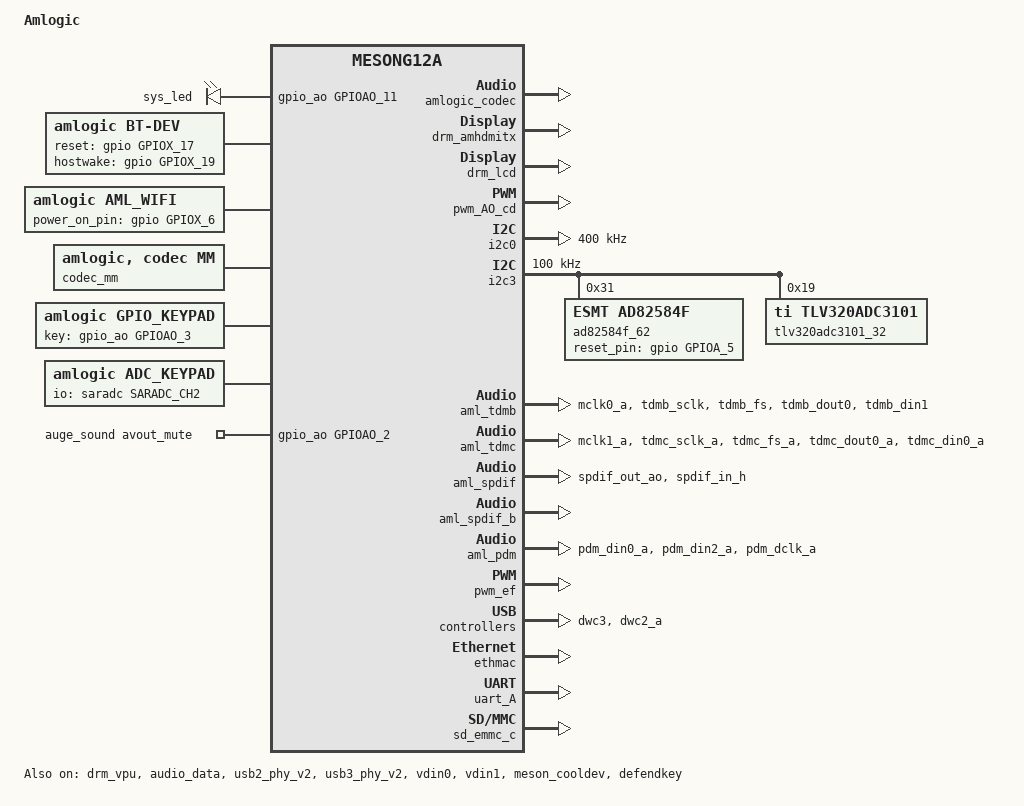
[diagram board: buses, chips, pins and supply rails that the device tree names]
/*
 * arch/arm/boot/dts/amlogic/g12a_s905d2_u200.dts
 *
 * Copyright (C) 2017 Amlogic, Inc. All rights reserved.
 *
 * This program is free software; you can redistribute it and/or modify
 * it under the terms of the GNU General Public License as published by
 * the Free Software Foundation; either version 2 of the License, or
 * (at your option) any later version.
 *
 * This program is distributed in the hope that it will be useful, but WITHOUT
 * ANY WARRANTY; without even the implied warranty of MERCHANTABILITY or
 * FITNESS FOR A PARTICULAR PURPOSE.  See the GNU General Public License for
 * more details.
 *
 */

/dts-v1/;

#include "mesong12a.dtsi"
#include "mesong12a_skt-panel.dtsi"
#include "mesong12a_drm.dtsi"

/ {
	model = "Amlogic";
	compatible = "amlogic, g12a";
	interrupt-parent = <&gic>;
	#address-cells = <1>;
	#size-cells = <1>;

	aliases {
		serial0 = &uart_AO;
		serial1 = &uart_A;
		serial2 = &uart_B;
		serial3 = &uart_C;
		serial4 = &uart_AO_B;
		tsensor0 = &p_tsensor;
		tsensor1 = &d_tsensor;
		i2c0 = &i2c0;
		i2c1 = &i2c1;
		i2c2 = &i2c2;
		i2c3 = &i2c3;
		i2c4 = &i2c_AO;
	};

	memory@00000000 {
		device_type = "memory";
		linux,usable-memory = <0x0 0x80000000>;
	};

	reserved-memory {
		#address-cells = <1>;
		#size-cells = <1>;
		ranges;
		/* global autoconfigured region for contiguous allocations */
		secmon_reserved:linux,secmon {
			compatible = "shared-dma-pool";
			reusable;
			size = <0x400000>;
			alignment = <0x400000>;
			alloc-ranges = <0x05000000 0x400000>;
		};
		secos_reserved:linux,secos {
			status = "disable";
			compatible = "amlogic, aml_secos_memory";
			reg = <0x05300000 0x2000000>;
			no-map;
		};
		logo_reserved:linux,meson-fb {
			compatible = "shared-dma-pool";
			reusable;
			size = <0x800000>;
			alignment = <0x400000>;
			alloc-ranges = <0x7f800000 0x800000>;
		};
		ion_cma_reserved:linux,ion-dev {
			compatible = "shared-dma-pool";
			reusable;
			size = <0x8000000>;
			alignment = <0x400000>;
		};
		//di_reserved:linux,di {
			//compatible = "amlogic, di-mem";
			/* buffer_size = 3621952(yuv422 8bit) */
			/* 4179008(yuv422 10bit full pack mode) */
			/** 10x3621952=34.6M(0x23) support 8bit **/
			/** 10x4736064=45.2M(0x2e) support 12bit **/
			/** 10x4179008=40M(0x28) support 10bit **/
			//size = <0x2800000>;
			//no-map;
		//};
		/*di CMA pool */
		di_cma_reserved:linux,di_cma {
			compatible = "shared-dma-pool";
			reusable;
			/* buffer_size = 3621952(yuv422 8bit)
			 *  | 4736064(yuv422 10bit)
			 *  | 4074560(yuv422 10bit full pack mode)
			 * 10x3621952=34.6M(0x23) support 8bit
			 * 10x4736064=45.2M(0x2e) support 12bit
			 * 10x4074560=40M(0x28) support 10bit
			 */
			size = <0x02800000>;
			alignment = <0x400000>;
		};
		/*  POST PROCESS MANAGER */
		ppmgr_reserved:linux,ppmgr {
			compatible = "shared-dma-pool";
			size = <0x0>;
		};

		codec_mm_cma:linux,codec_mm_cma {
			compatible = "shared-dma-pool";
			reusable;
			/* ion_codec_mm max can alloc size 80M*/
			size = <0x13400000>;
			alignment = <0x400000>;
			linux,contiguous-region;
		};
		/* codec shared reserved */
		codec_mm_reserved:linux,codec_mm_reserved {
			compatible = "amlogic, codec-mm-reserved";
			size = <0x0>;
			alignment = <0x100000>;
			//no-map;
		};
		/*  vdin0 CMA pool */
		vdin0_cma_reserved:linux,vdin0_cma {
			compatible = "shared-dma-pool";
			reusable;
		/* 1920x1080x2x4  =16+4 M */
			size = <0x04000000>;
			alignment = <0x400000>;
		};
		/*  vdin1 CMA pool */
		vdin1_cma_reserved:linux,vdin1_cma {
			compatible = "shared-dma-pool";
			reusable;
			/* 1920x1080x2x4  =16 M */
			size = <0x04000000>;
			alignment = <0x400000>;
		};
	};

	gpioleds {
		compatible = "gpio-leds";
		status = "okay";

		sys_led {
			label="sys_led";
			gpios=<&gpio_ao GPIOAO_11 GPIO_ACTIVE_HIGH>;
			default-state ="on";
		};
	};

	cvbsout {
		compatible = "amlogic, cvbsout-g12a";
		dev_name = "cvbsout";
		status = "okay";
		clocks = <&clkc CLKID_VCLK2_ENCI
			&clkc CLKID_VCLK2_VENCI0
			&clkc CLKID_VCLK2_VENCI1
			&clkc CLKID_DAC_CLK>;
		clock-names = "venci_top_gate",
			"venci_0_gate",
			"venci_1_gate",
			"vdac_clk_gate";
		clk_path = <0>;

		/* performance: reg_address, reg_value */
		/* g12a */
		performance = <0x1bf0  0x9
			0x1b56  0x333
			0x1b12  0x8080
			0x1b05  0xfd
			0x1c59  0xf850
			0xffff  0x0>; /* ending flag */
		performance_sarft = <0x1bf0  0x9
			0x1b56  0x333
			0x1b12  0x0
			0x1b05  0x9
			0x1c59  0xfc48
			0xffff  0x0>; /* ending flag */
		performance_revB_telecom = <0x1bf0  0x9
			0x1b56  0x546
			0x1b12  0x8080
			0x1b05  0x9
			0x1c59  0xf850
			0xffff  0x0>; /* ending flag */
	};

	bt-dev{
		compatible = "amlogic, bt-dev";
		dev_name = "bt-dev";
		status = "okay";
		gpio_reset = <&gpio       GPIOX_17       GPIO_ACTIVE_HIGH>;
		gpio_hostwake = <&gpio       GPIOX_19       GPIO_ACTIVE_HIGH>;
	};

	wifi{
		compatible = "amlogic, aml_wifi";
		dev_name = "aml_wifi";
		status = "okay";
		interrupt_pin = <&gpio       GPIOX_7       GPIO_ACTIVE_HIGH>;
		irq_trigger_type = "GPIO_IRQ_LOW";
		power_on_pin = <&gpio       GPIOX_6       GPIO_ACTIVE_HIGH>;
		dhd_static_buf;	//if use bcm wifi, config dhd_static_buf
		pinctrl-names = "default";
		pinctrl-0 = <&pwm_e_pins>;
		pwm_config = <&wifi_pwm_conf>;
	};

	wifi_pwm_conf:wifi_pwm_conf{
		pwm_channel1_conf {
			pwms = <&pwm_ef MESON_PWM_0 30541 0>;
			duty-cycle = <15270>;
			times = <10>;
		};
		pwm_channel2_conf {
			pwms = <&pwm_ef MESON_PWM_2 30500 0>;
			duty-cycle = <15250>;
			times = <12>;
		};
	};

	codec_mm {
		compatible = "amlogic, codec, mm";
		memory-region = <&codec_mm_cma &codec_mm_reserved>;
		dev_name = "codec_mm";
		status = "okay";
	};

	ppmgr {
		compatible = "amlogic, ppmgr";
		memory-region = <&ppmgr_reserved>;
		dev_name = "ppmgr";
		status = "okay";
	};

	deinterlace {
		compatible = "amlogic, deinterlace";
		status = "okay";
		/* 0:use reserved; 1:use cma; 2:use cma as reserved */
		flag_cma = <1>;
		//memory-region = <&di_reserved>;
		memory-region = <&di_cma_reserved>;
		interrupts = <0 46 1
				0 40 1>;
		interrupt-names = "pre_irq", "post_irq";
		clocks = <&clkc CLKID_VPU_CLKB_TMP_COMP>,
			<&clkc CLKID_VPU_CLKB_COMP>;
		clock-names = "vpu_clkb_tmp_composite",
			"vpu_clkb_composite";
		clock-range = <334 667>;
		/* buffer-size = <3621952>;(yuv422 8bit) */
		buffer-size = <4074560>;/*yuv422 fullpack*/
		/* reserve-iomap = "true"; */
		/* if enable nr10bit, set nr10bit-support to 1 */
		post-wr-support = <1>;
		nr10bit-support = <1>;
		nrds-enable = <1>;
		pps-enable = <1>;
	};
	ionvideo {
		compatible = "amlogic, ionvideo";
		dev_name = "ionvideo";
		status = "okay";
	};

	gpio_keypad{
		compatible = "amlogic, gpio_keypad";
		status = "okay";
		scan_period = <20>;
		key_num = <1>;
		key_name = "power";
		key_code = <116>;
		key-gpios = <&gpio_ao  GPIOAO_3  GPIO_ACTIVE_HIGH>;
		detect_mode = <0>;/*0:polling mode, 1:irq mode*/
	};

	adc_keypad {
		compatible = "amlogic, adc_keypad";
		status = "okay";
		key_name = "vol-", "vol+", "enter";
		key_num = <3>;
		io-channels = <&saradc SARADC_CH2>;
		io-channel-names = "key-chan-2";
		key_chan = <SARADC_CH2 SARADC_CH2 SARADC_CH2>;
		key_code = <114 115 28>;
		key_val = <143 266 389>; //val=voltage/1800mV*1023
		key_tolerance = <40 40 40>;
	};

	partitions: partitions{
		parts = <14>;
		part-0 = <&logo>;
		part-1 = <&recovery>;
		part-2 = <&misc>;
		part-3 = <&dto>;
		part-4 = <&cri_data>;
		part-5 = <&param>;
		part-6 = <&boot>;
		part-7 = <&rsv>;
		part-8 = <&tee>;
		part-9 = <&vendor>;
		part-10 = <&odm>;
		part-11 = <&system>;
		part-12 = <&cache>;
		part-13 = <&data>;

		logo:logo{
			pname = "logo";
			size = <0x0 0x800000>;
			mask = <1>;
		};
		recovery:recovery{
			pname = "recovery";
			size = <0x0 0x1800000>;
			mask = <1>;
		};
		misc:misc{
			pname = "misc";
			size = <0x0 0x800000>;
			mask = <1>;
		};
		dto:dto{
			pname = "dto";
			size = <0x0 0x800000>;
			mask = <1>;
		};
		cri_data:cri_data{
			pname = "cri_data";
			size = <0x0 0x800000>;
			mask = <2>;
		};
		rsv:rsv{
			pname = "rsv";
			size = <0x0 0x1000000>;
			mask = <1>;
		};
		param:param{
			pname = "param";
			size = <0x0 0x1000000>;
			mask = <2>;
		};
		boot:boot{
			pname = "boot";
			size = <0x0 0x1000000>;
			mask = <1>;
		};
		tee:tee{
			pname = "tee";
			size = <0x0 0x2000000>;
			mask = <1>;
		};
		vendor:vendor{
			pname = "vendor";
			size = <0x0 0x10000000>;
			mask = <1>;
		};
		odm:odm{
			pname = "odm";
			size = <0x0 0x10000000>;
			mask = <1>;
		};
		system:system{
			pname = "system";
			size = <0x0 0x80000000>;
			mask = <1>;
		};
		cache:cache{
			pname = "cache";
			size = <0x0 0x46000000>;
			mask = <2>;
		};
		data:data{
			pname = "data";
			size = <0xffffffff 0xffffffff>;
			mask = <4>;
		};
	};
	unifykey{
		compatible = "amlogic, unifykey";
		status = "ok";
		unifykey-num = <15>;
		unifykey-index-0 = <&keysn_0>;
		unifykey-index-1 = <&keysn_1>;
		unifykey-index-2 = <&keysn_2>;
		unifykey-index-3 = <&keysn_3>;
		unifykey-index-4 = <&keysn_4>;
		unifykey-index-5 = <&keysn_5>;
		unifykey-index-6 = <&keysn_6>;
		unifykey-index-7 = <&keysn_7>;
		unifykey-index-8 = <&keysn_8>;
		unifykey-index-9 = <&keysn_9>;
		unifykey-index-10= <&keysn_10>;
		unifykey-index-11= <&keysn_11>;
		unifykey-index-12= <&keysn_12>;
		unifykey-index-13= <&keysn_13>;
		unifykey-index-14= <&keysn_14>;

		keysn_0: key_0{
			key-name = "usid";
			key-device = "normal";
			key-permit = "read","write","del";
		};
		keysn_1:key_1{
			key-name = "mac";
			key-device = "normal";
			key-permit = "read","write","del";
		};
		keysn_2:key_2{
			key-name = "hdcp";
			key-device = "secure";
			key-type = "sha1";
			key-permit = "read","write","del";
		};
		keysn_3:key_3{
			key-name = "secure_boot_set";
			key-device = "efuse";
			key-permit = "write";
		};
		keysn_4:key_4{
			key-name = "mac_bt";
			key-device = "normal";
			key-permit = "read","write","del";
			key-type  = "mac";
		};
		keysn_5:key_5{
			key-name = "mac_wifi";
			key-device = "normal";
			key-permit = "read","write","del";
			key-type = "mac";
		};
		keysn_6:key_6{
			key-name = "hdcp2_tx";
			key-device = "normal";
			key-permit = "read","write","del";
		};
		keysn_7:key_7{
			key-name = "hdcp2_rx";
			key-device = "normal";
			key-permit = "read","write","del";
		};
		keysn_8:key_8{
			key-name = "widevinekeybox";
			key-device = "secure";
			key-permit = "read","write","del";
		};
		keysn_9:key_9{
			key-name = "deviceid";
			key-device = "normal";
			key-permit = "read","write","del";
		};
		keysn_10:key_10{
			key-name = "hdcp22_fw_private";
			key-device = "secure";
			key-permit = "read","write","del";
		};
		keysn_11:key_11{
			key-name = "PlayReadykeybox25";
			key-device = "secure";
			key-permit = "read","write","del";
		};
		keysn_12:key_12{
			key-name = "prpubkeybox";// PlayReady
			key-device = "secure";
			key-permit = "read","write","del";
		};
		keysn_13:key_13{
			key-name = "prprivkeybox";// PlayReady
			key-device = "secure";
			key-permit = "read","write","del";
		};
		keysn_14:key_14{
			key-name = "netflix_mgkid";
			key-device = "secure";
			key-permit = "read","write","del";
		};
	};//End unifykey

	efusekey:efusekey{
		keynum = <4>;
		key0 = <&key_0>;
		key1 = <&key_1>;
		key2 = <&key_2>;
		key3 = <&key_3>;
		key_0:key_0{
			keyname = "mac";
			offset = <0>;
			size = <6>;
		};
		key_1:key_1{
			keyname = "mac_bt";
			offset = <6>;
			size = <6>;
		};
		key_2:key_2{
			keyname = "mac_wifi";
			offset = <12>;
			size = <6>;
		};
		key_3:key_3{
			keyname = "usid";
			offset = <18>;
			size = <16>;
		};
	};//End efusekey

	amlvecm {
		compatible = "amlogic, vecm";
		dev_name = "aml_vecm";
		status = "okay";
		gamma_en = <0>;/*1:enabel ;0:disable*/
		wb_en = <0>;/*1:enabel ;0:disable*/
		cm_en = <0>;/*1:enabel ;0:disable*/
		/*0: 709/601  1: bt2020*/
		tx_op_color_primary = <0>;
	};

	amdolby_vision {
		compatible = "amlogic, dolby_vision_g12a";
		dev_name = "aml_amdolby_vision_driver";
		status = "okay";
		tv_mode = <0>;/*1:enabel ;0:disable*/
	};

	/* Audio Related start */
	pdm_codec:dummy{
		#sound-dai-cells = <0>;
		compatible = "amlogic, pdm_dummy_codec";
		status = "okay";
	};
	dummy_codec:dummy{
		#sound-dai-cells = <0>;
		compatible = "amlogic, aml_dummy_codec";
		status = "okay";
	};
	amlogic_codec:t9015{
		#sound-dai-cells = <0>;
		compatible = "amlogic, aml_codec_T9015";
		reg = <0xFF632000 0x2000>;
		is_auge_used = <1>; /* meson or auge chipset used */
		tdmout_index = <1>;
		status = "okay";
	};
	audio_effect:eqdrc{
		/*eq_enable = <1>;*/
		/*drc_enable = <1>;*/
		/*
		 * 0:tdmout_a
		 * 1:tdmout_b
		 * 2:tdmout_c
		 * 3:spdifout
		 * 4:spdifout_b
		 */
		eqdrc_module = <1>;
		/* max 0xf, each bit for one lane, usually one lane */
		lane_mask = <0x1>;
		/* max 0xff, each bit for one channel */
		channel_mask = <0x3>;
	};
	auge_sound {
		compatible = "amlogic, g12a-sound-card";
		aml-audio-card,name = "AML-AUGESOUND";

		aml-audio-card,loopback = <&aml_loopback>;
		aml-audio-card,aux-devs = <&amlogic_codec>;
		/*avout mute gpio*/
		avout_mute-gpios = <&gpio_ao GPIOAO_2 GPIO_ACTIVE_HIGH>;
		/*for audio effect ,eqdrc */
		aml-audio-card,effect = <&audio_effect>;

		aml-audio-card,dai-link@0 {
			format = "dsp_a";
			mclk-fs = <512>;
			//continuous-clock;
			//bitclock-inversion;
			//frame-inversion;
			//bitclock-master = <&tdmacodec>;
			//frame-master = <&tdmacodec>;
			/* suffix-name, sync with android audio hal
			 * what's the dai link used for
			 */
			suffix-name = "alsaPORT-pcm";
			tdmacpu: cpu {
				sound-dai = <&aml_tdma>;
				dai-tdm-slot-tx-mask =
							<1 1 1 1 1 1 1 1>;
				dai-tdm-slot-rx-mask =
							<1 1 1 1 1 1 1 1>;
				dai-tdm-slot-num = <8>;
				dai-tdm-slot-width = <32>;
				system-clock-frequency = <24576000>;
			};
			tdmacodec: codec {
				sound-dai = <&dummy_codec &dummy_codec>;
			};
		};

		aml-audio-card,dai-link@1 {
			format = "i2s";// "dsp_a";
			mclk-fs = <256>;
			//continuous-clock;
			//bitclock-inversion;
			//frame-inversion;
			bitclock-master = <&aml_tdmb>;
			frame-master = <&aml_tdmb>;
			//bitclock-master = <&tdmbcodec>;
			//frame-master = <&tdmbcodec>;
			/* suffix-name, sync with android audio hal
			 * what's the dai link used for
			 */
			suffix-name = "alsaPORT-i2s";
			cpu {
				sound-dai = <&aml_tdmb>;
				dai-tdm-slot-tx-mask = <1 1>;
				dai-tdm-slot-rx-mask = <1 1>;
				dai-tdm-slot-num = <2>;
				/*
				 * dai-tdm-slot-tx-mask =
				 *	<1 1 1 1 1 1 1 1>;
				 * dai-tdm-slot-rx-mask =
				 *	<1 1 1 1 1 1 1 1>;
				 * dai-tdm-slot-num = <8>;
				 */
				dai-tdm-slot-width = <32>;
				system-clock-frequency = <12288000>;
			};
			tdmbcodec: codec {
				sound-dai = <&dummy_codec &dummy_codec
				&amlogic_codec &ad82584f_62>;
			};
		};

		aml-audio-card,dai-link@2 {
			format = "i2s";
			mclk-fs = <256>;
			//continuous-clock;
			//bitclock-inversion;
			//frame-inversion;
			bitclock-master = <&aml_tdmc>;
			frame-master = <&aml_tdmc>;
			/* suffix-name, sync with android audio hal
			 * what's the dai link used for
			 */
			//suffix-name = "alsaPORT-tdm";
			cpu {
				sound-dai = <&aml_tdmc>;
				dai-tdm-slot-tx-mask = <1 1>;
				dai-tdm-slot-rx-mask = <1 1>;
				dai-tdm-slot-num = <2>;
				dai-tdm-slot-width = <32>;
				system-clock-frequency = <12288000>;
			};
			codec {
				sound-dai = <&tlv320adc3101_32 &dummy_codec>;
			};
		};

		aml-audio-card,dai-link@3 {
			mclk-fs = <64>;
			/* suffix-name, sync with android audio hal
			 * what's the dai link used for
			 */
			suffix-name = "alsaPORT-pdm";
			cpu {
				sound-dai = <&aml_pdm>;
			};
			codec {
				sound-dai = <&pdm_codec>;
			};
		};

		aml-audio-card,dai-link@4 {
			mclk-fs = <128>;
			/* suffix-name, sync with android audio hal
			 * what's the dai link used for
			 */
			suffix-name = "alsaPORT-spdif";
			cpu {
				sound-dai = <&aml_spdif>;
				system-clock-frequency = <6144000>;
			};
			codec {
				sound-dai = <&dummy_codec>;
			};
		};
		/* spdif_b to hdmi, only playback */
		aml-audio-card,dai-link@5 {
			mclk-fs = <128>;
			continuous-clock;
			/* suffix-name, sync with android audio hal
			 * what's the dai link used for
			 */
			suffix-name = "alsaPORT-spdifb2hdmi";
			cpu {
				sound-dai = <&aml_spdif_b>;
				system-clock-frequency = <6144000>;
			};
			codec {
				sound-dai = <&dummy_codec>;
			};
		};
	};
	audiolocker: locker {
		compatible = "amlogic, audiolocker";
		clocks = <&clkaudio CLKID_AUDIO_LOCKER_OUT
				&clkaudio CLKID_AUDIO_LOCKER_IN
				&clkaudio CLKID_AUDIO_MCLK_D
				&clkaudio CLKID_AUDIO_MCLK_E
				&clkc CLKID_MPLL1
				&clkc CLKID_MPLL2>;
		clock-names = "lock_out", "lock_in", "out_src",
					"in_src", "out_calc", "in_ref";
		interrupts = <GIC_SPI 1 IRQ_TYPE_EDGE_RISING>;
		interrupt-names = "irq";
		frequency = <49000000>; /* pll */
		dividor = <49>; /* locker's parent */
		status = "okay";
	};
	/* Audio Related end */

	/*DCDC for MP8756GD*/
	cpu_opp_table0: cpu_opp_table0 {
		compatible = "operating-points-v2";
		opp-shared;

		opp00 {
			opp-hz = /bits/ 64 <100000000>;
			opp-microvolt = <731000>;
		};
		opp01 {
			opp-hz = /bits/ 64 <250000000>;
			opp-microvolt = <731000>;
		};
		opp02 {
			opp-hz = /bits/ 64 <500000000>;
			opp-microvolt = <731000>;
		};
		opp03 {
			opp-hz = /bits/ 64 <667000000>;
			opp-microvolt = <731000>;
		};
		opp04 {
			opp-hz = /bits/ 64 <1000000000>;
			opp-microvolt = <731000>;
		};
		opp05 {
			opp-hz = /bits/ 64 <1200000000>;
			opp-microvolt = <731000>;
		};
		opp06 {
			opp-hz = /bits/ 64 <1398000000>;
			opp-microvolt = <761000>;
		};
		opp07 {
			opp-hz = /bits/ 64 <1512000000>;
			opp-microvolt = <791000>;
		};
		opp08 {
			opp-hz = /bits/ 64 <1608000000>;
			opp-microvolt = <831000>;
		};
		opp09 {
			opp-hz = /bits/ 64 <1704000000>;
			opp-microvolt = <861000>;
		};
		opp10 {
			opp-hz = /bits/ 64 <1800000000>;
			opp-microvolt = <981000>;
		};
	};

	cpufreq-meson {
		compatible = "amlogic, cpufreq-meson";
		pinctrl-names = "default";
		pinctrl-0 = <&pwm_ao_d_pins3>;
		status = "okay";
	};

}; /* end of / */

&meson_fb {
	status = "disable";
	display_size_default = <1920 1080 1920 2160 32>;
	mem_size = <0x00800000 0x1980000 0x100000 0x100000 0x800000>;
	logo_addr = "0x7f800000";
	mem_alloc = <1>;
	pxp_mode = <0>; /** 0:normal mode 1:pxp mode */
};

&drm_vpu {
	status = "okay";
	logo_addr = "0x7f800000";
};

&drm_amhdmitx {
	status = "okay";
	hdcp = "disabled";
};

&drm_lcd {
	status = "okay";
};

&pwm_AO_cd {
		status = "okay";
};

&i2c0 {
	status = "okay";
	pinctrl-names="default";
	pinctrl-0=<&i2c0_master_pins2>;
	clock-frequency = <400000>;

	gt9xx@5d {
		compatible = "goodix,gt9xx";
		status = "disabled";
		reg = <0x5d>;
		reset-gpio = <&gpio GPIOZ_9 0x00>;
		irq-gpio = <&gpio GPIOZ_3 0x00>;
	};

	ftxx@38 {
		compatible = "focaltech,fts";
		status = "disabled";
		reg = <0x38>;
		reset-gpio = <&gpio GPIOZ_9 0x00>;
		irq-gpio = <&gpio GPIOZ_3 0x00>;
		x_max = <600>;
		y_max = <1024>;
		max-touch-number = <10>;
	};
};

&i2c3 {
	status = "okay";
	pinctrl-names="default";
	pinctrl-0=<&i2c3_master_pins2>;
	clock-frequency = <100000>; /* default 100k */

	/* for ref board */
	ad82584f_62: ad82584f_62@62 {
		compatible = "ESMT, ad82584f";
		#sound-dai-cells = <0>;
		reg = <0x31>;
		status = "okay";
		reset_pin = <&gpio GPIOA_5 0>;
	};

	tlv320adc3101_32: tlv320adc3101_32@32 {
		compatible = "ti,tlv320adc3101";
		#sound-dai-cells = <0>;
		reg = <0x19>;
		differential_pair = <1>;
		status = "okay";
	};

	tas5707_36: tas5707_36@36 {
		compatible = "ti,tas5707";
		#sound-dai-cells = <0>;
		reg = <0x1b>;
		status = "disabled";
		reset_pin = <&gpio GPIOA_5 0>;
	};

	bl_extern_i2c {
		compatible = "bl_extern, i2c";
		dev_name = "lp8556";
		reg = <0x2c>;
		status = "disabled";
	};
};

&audiobus {
	aml_tdma: tdma {
		compatible = "amlogic, g12a-snd-tdma";
		#sound-dai-cells = <0>;
		dai-tdm-lane-slot-mask-in = <0 1>;
		dai-tdm-oe-lane-slot-mask-out = <1 0>;
		dai-tdm-clk-sel = <0>;
		clocks = <&clkaudio CLKID_AUDIO_MCLK_A
				&clkc CLKID_MPLL0>;
		clock-names = "mclk", "clk_srcpll";
		pinctrl-names = "tdm_pins";
		pinctrl-0 = <&tdmout_a &tdmin_a>;
	};

	aml_tdmb: tdmb {
		compatible = "amlogic, g12a-snd-tdmb";
		#sound-dai-cells = <0>;
		dai-tdm-lane-slot-mask-in = <0 1 0 0>;
		dai-tdm-lane-slot-mask-out = <1 0 0 0>;
		dai-tdm-clk-sel = <1>;
		clocks = <&clkaudio CLKID_AUDIO_MCLK_B
				&clkc CLKID_MPLL1
				&clkc CLKID_MPLL0>;
		clock-names = "mclk", "clk_srcpll", "samesource_sysclk";
		pinctrl-names = "tdm_pins";
		pinctrl-0 = <&tdmb_mclk &tdmout_b &tdmin_b>;
		/*
		 * 0: tdmout_a;
		 * 1: tdmout_b;
		 * 2: tdmout_c;
		 * 3: spdifout;
		 * 4: spdifout_b;
		 */
		samesource_sel = <3>;
	};

	aml_tdmc: tdmc {
		compatible = "amlogic, g12a-snd-tdmc";
		#sound-dai-cells = <0>;
		dai-tdm-lane-slot-mask-in = <1 0 0 0>;
		#dai-tdm-lane-slot-mask-out = <1 0 1 1>;
		#dai-tdm-lane-oe-slot-mask-in = <0 0 0 0>;
		#dai-tdm-lane-oe-slot-mask-out = <1 0 0 0>;
		dai-tdm-clk-sel = <2>;
		clocks = <&clkaudio CLKID_AUDIO_MCLK_C
				&clkc CLKID_MPLL2>;
		clock-names = "mclk", "clk_srcpll";
		pinctrl-names = "tdm_pins";
		pinctrl-0 = <&tdmc_mclk &tdmout_c &tdmin_c>;
	};


	aml_spdif: spdif {
		compatible = "amlogic, g12a-snd-spdif-a";
		#sound-dai-cells = <0>;
		clocks = <&clkc CLKID_MPLL0
				&clkc CLKID_FCLK_DIV4
				&clkaudio CLKID_AUDIO_SPDIFIN
				&clkaudio CLKID_AUDIO_SPDIFOUT
				&clkaudio CLKID_AUDIO_SPDIFIN_CTRL
				&clkaudio CLKID_AUDIO_SPDIFOUT_CTRL>;
		clock-names = "sysclk", "fixed_clk", "gate_spdifin",
				"gate_spdifout", "clk_spdifin", "clk_spdifout";
		interrupts =
				<GIC_SPI 151 IRQ_TYPE_EDGE_RISING>;

		interrupt-names = "irq_spdifin";
		pinctrl-names = "spdif_pins";
		pinctrl-0 = <&spdifout &spdifin>;
		status = "okay";
	};
	aml_spdif_b: spdif_b {
		compatible = "amlogic, g12a-snd-spdif-b";
		#sound-dai-cells = <0>;
		clocks = <&clkc CLKID_MPLL0 /*CLKID_HIFI_PLL*/
				&clkaudio CLKID_AUDIO_SPDIFOUTB
				&clkaudio CLKID_AUDIO_SPDIFOUTB_CTRL>;
		clock-names = "sysclk",
				"gate_spdifout", "clk_spdifout";
		status = "okay";
	};
	aml_pdm: pdm {
		compatible = "amlogic, g12a-snd-pdm";
		#sound-dai-cells = <0>;
		clocks = <&clkaudio CLKID_AUDIO_PDM
			&clkc CLKID_FCLK_DIV3
			&clkc CLKID_MPLL3
			&clkaudio CLKID_AUDIO_PDMIN0
			&clkaudio CLKID_AUDIO_PDMIN1>;
		clock-names = "gate",
			"sysclk_srcpll",
			"dclk_srcpll",
			"pdm_dclk",
			"pdm_sysclk";
		pinctrl-names = "pdm_pins";
		pinctrl-0 = <&pdmin>;
		filter_mode = <1>; /* mode 0~4, defalut:1 */
		status = "okay";
	};
	aml_loopback: loopback {
		compatible = "amlogic, snd-loopback";
		/*
		 * 0: out rate = in data rate;
		 * 1: out rate = loopback data rate;
		 */
		lb_mode = <0>;

		/* datain src
		 * 0: tdmin_a;
		 * 1: tdmin_b;
		 * 2: tdmin_c;
		 * 3: spdifin;
		 * 4: pdmin;
		 */
		datain_src = <4>;
		datain_chnum = <8>;
		datain_chmask = <0x3f>;

		/* tdmin_lb src
		 * 0: tdmoutA
		 * 1: tdmoutB
		 * 2: tdmoutC
		 * 3: PAD_tdminA
		 * 4: PAD_tdminB
		 * 5: PAD_tdminC
		 */
		datalb_src = <2>;
		datalb_chnum = <8>;
		datalb_chmask = <0x3>;

		status = "okay";
	};

	audioresample: resample {
		compatible = "amlogic, g12a-resample";
		clocks = <&clkc CLKID_MPLL3
				&clkaudio CLKID_AUDIO_MCLK_F
				&clkaudio CLKID_AUDIO_RESAMPLE_CTRL>;
		clock-names = "resample_pll", "resample_src", "resample_clk";
		/*same with toddr_src
		 *	TDMIN_A, 0
		 *	TDMIN_B, 1
		 *	TDMIN_C, 2
		 *	SPDIFIN, 3
		 *	PDMIN,  4
		 *	NONE,
		 *	TDMIN_LB, 6
		 *	LOOPBACK, 7
		 */
		resample_module = <4>;
		status = "okay";
	};
	aml_pwrdet: pwrdet {
		compatible = "amlogic, g12a-power-detect";

		interrupts = <GIC_SPI 155 IRQ_TYPE_EDGE_RISING>;
		interrupt-names = "pwrdet_irq";

		/* pwrdet source sel
		 * 7: loopback;
		 * 6: tdmin_lb;
		 * 5: reserved;
		 * 4: pdmin;
		 * 3: spdifin;
		 * 2: tdmin_c;
		 * 1: tdmin_b;
		 * 0: tdmin_a;
		 */
		pwrdet_src = <4>;

		hi_th = <0x70000>;
		lo_th = <0x16000>;

		status = "okay";
	};
}; /* end of audiobus */

&pinctrl_periphs {
	tdmout_a: tdmout_a {
		mux { /* GPIOX_11, GPIOX_10, GPIOX_9 */
			groups = "tdma_sclk",
				"tdma_fs",
				"tdma_dout0";
			function = "tdma_out";
		};
	};

	tdmin_a: tdmin_a {
		mux { /* GPIOX_8 */
			groups = "tdma_din1";
			function = "tdma_in";
		};
	};

	tdmb_mclk: tdmb_mclk {
		mux {
			groups = "mclk0_a";
			function = "mclk0";
			drive-strength = <2>;
		};
	};
	tdmout_b: tdmout_b {
		mux { /* GPIOA_1, GPIOA_2, GPIOA_3 */
			groups = "tdmb_sclk",
				"tdmb_fs",
				"tdmb_dout0";
			function = "tdmb_out";
			drive-strength = <2>;
		};
	};

	tdmin_b:tdmin_b {
		mux { /* GPIOA_4 */
			groups = "tdmb_din1"
				/*,"tdmb_slv_sclk", "tdmb_slv_fs"*/;
			function = "tdmb_in";
			drive-strength = <2>;
		};
	};

	tdmc_mclk: tdmc_mclk {
		mux { /* GPIOA_11 */
			groups = "mclk1_a";
			function = "mclk1";
		};
	};

	tdmout_c:tdmout_c {
		mux { /* GPIOA_12, GPIOA_13, GPIOA_8, GPIOA_7*/
			groups = "tdmc_sclk_a",
				"tdmc_fs_a",
				"tdmc_dout0_a"
				/*,	"tdmc_dout2",
				 * "tdmc_dout3"
				 */;
			function = "tdmc_out";
		};
	};

	tdmin_c:tdmin_c {
		mux { /* GPIOA_10 */
			groups = "tdmc_din0_a";
			function = "tdmc_in";
		};
	};

	spdifin: spdifin {
		mux {/* GPIOH_5 */
			groups = "spdif_in_h";
			function = "spdif_in";
		};
	};

	/* GPIOH_4 */
	/*
	 * spdifout: spdifout {
	 *	mux {
	 *		groups = "spdif_out_h";
	 *		function = "spdif_out";
	 *	};
	 *};
	 */

	pdmin: pdmin {
		mux { /* gpioa_5, gpioa_6, gpioa_7, gpioa_8, gpioa_9*/
			groups = "pdm_din0_a",
			/*"pdm_din1_a",*/
			"pdm_din2_a",
			/*"pdm_din3_a",*/
			"pdm_dclk_a";
			function = "pdm";
		};
	};

	bl_pwm_off_pins:bl_pwm_off_pin {
		mux {
			pins = "GPIOH_5";
			function = "gpio_periphs";
			output-high;
		};
	};


}; /* end of pinctrl_periphs */
&pinctrl_aobus {
	spdifout: spdifout {
		mux { /* gpiao_10 */
			groups = "spdif_out_ao";
			function = "spdif_out_ao";
		};
	};
};  /* end of pinctrl_aobus */

&audio_data {
	status = "okay";
};

/* Audio Related End */

&pwm_ef {
	status = "okay";
};

&dwc3 {
	status = "okay";
};

&usb2_phy_v2 {
	status = "okay";
	portnum = <2>;
};

&usb3_phy_v2 {
	status = "okay";
	portnum = <1>;
	otg = <1>;
	gpio-vbus-power = "GPIOH_6";
	gpios = <&gpio GPIOH_6 GPIO_ACTIVE_HIGH>;
};

&dwc2_a {
	status = "okay";
	/** 0: normal, 1: otg+dwc3 host only, 2: otg+dwc3 device only*/
	controller-type = <3>;
};
&ethmac {
	status = "okay";
	pinctrl-names = "internal_eth_pins";
	pinctrl-0 = <&internal_eth_pins>;
	mc_val = <0x4be04>;

	internal_phy=<1>;
};

&uart_A {
	status = "okay";
};

/*if you want to use vdin just modify status to "ok"*/
&vdin0 {
	memory-region = <&vdin0_cma_reserved>;
	status = "okay";
	/*vdin write mem color depth support:
	 *bit0:support 8bit
	 *bit1:support 9bit
	 *bit2:support 10bit
	 *bit3:support 12bit
	 *bit4:support yuv422 10bit full pack mode (from txl new add)
	 */
	tv_bit_mode = <0x15>;
};
&vdin1 {
	memory-region = <&vdin1_cma_reserved>;
	status = "okay";
	/*vdin write mem color depth support:
	 *bit0:support 8bit
	 *bit1:support 9bit
	 *bit2:support 10bit
	 *bit3:support 12bit
	 */
	tv_bit_mode = <1>;
};


&sd_emmc_c {
	status = "okay";
	emmc {
		caps = "MMC_CAP_8_BIT_DATA",
			 "MMC_CAP_MMC_HIGHSPEED",
			 "MMC_CAP_SD_HIGHSPEED",
			 "MMC_CAP_NONREMOVABLE",
			/* "MMC_CAP_1_8V_DDR", */
			 "MMC_CAP_HW_RESET",
			 "MMC_CAP_ERASE",
			 "MMC_CAP_CMD23";
		caps2 = "MMC_CAP2_HS200";
		/* "MMC_CAP2_HS400";*/
		f_min = <400000>;
		f_max = <200000000>;
	};
};

&sd_emmc_b1 {
	status = "disabled";
	sd {
		caps = "MMC_CAP_4_BIT_DATA",
			 "MMC_CAP_MMC_HIGHSPEED",
			 "MMC_CAP_SD_HIGHSPEED";
		f_min = <400000>;
		f_max = <50000000>;
	};
};

&sd_emmc_b2 {
	status = "disabled";
	sd {
		caps = "MMC_CAP_4_BIT_DATA",
			 "MMC_CAP_MMC_HIGHSPEED",
			 "MMC_CAP_SD_HIGHSPEED";

		f_min = <400000>;
		f_max = <50000000>;
	};

	sdio {
		caps = "MMC_CAP_4_BIT_DATA",
			 "MMC_CAP_MMC_HIGHSPEED",
			 "MMC_CAP_SD_HIGHSPEED",
			 "MMC_CAP_NONREMOVABLE",
			 "MMC_CAP_UHS_SDR12",
			 "MMC_CAP_UHS_SDR25",
			 "MMC_CAP_UHS_SDR50",
			 "MMC_CAP_UHS_SDR104",
			 "MMC_PM_KEEP_POWER",
			 "MMC_CAP_SDIO_IRQ";

		f_min = <400000>;
		f_max = <200000000>;
	};
};


&sd_emmc_a {
	status = "disabled";
	sdio {
		caps = "MMC_CAP_4_BIT_DATA",
			 "MMC_CAP_MMC_HIGHSPEED",
			 "MMC_CAP_SD_HIGHSPEED",
			 "MMC_CAP_NONREMOVABLE",
			 "MMC_CAP_UHS_SDR12",
			 "MMC_CAP_UHS_SDR25",
			 "MMC_CAP_UHS_SDR50",
			 "MMC_CAP_UHS_SDR104",
			 "MMC_PM_KEEP_POWER",
			 "MMC_CAP_SDIO_IRQ";
		f_min = <400000>;
		f_max = <200000000>;
	};
};

&nand {
	status = "disabled";
	plat-names = "bootloader","nandnormal";
	plat-num = <2>;
	plat-part-0 = <&bootloader>;
	plat-part-1 = <&nandnormal>;
	bootloader: bootloader{
		enable_pad ="ce0";
		busy_pad = "rb0";
		timming_mode = "mode5";
		bch_mode = "bch8_1k";
		t_rea = <20>;
		t_rhoh = <15>;
		chip_num = <1>;
		part_num = <0>;
		rb_detect = <1>;
	};
	nandnormal: nandnormal{
		enable_pad ="ce0";
		busy_pad = "rb0";
		timming_mode = "mode5";
		bch_mode = "bch8_1k";
		plane_mode = "twoplane";
		t_rea = <20>;
		t_rhoh = <15>;
		chip_num = <2>;
		part_num = <3>;
		partition = <&nand_partitions>;
		rb_detect = <1>;
	};
	nand_partitions:nand_partition{
		/*
		 * if bl_mode is 1, tpl size was generate by
		 * fip_copies * fip_size which
		 * will not skip bad when calculating
		 * the partition size;
		 *
		 * if bl_mode is 0,
		 * tpl partition must be comment out.
		 */
		tpl{
			offset=<0x0 0x0>;
			size=<0x0 0x0>;
		};
		logo{
			offset=<0x0 0x0>;
			size=<0x0 0x200000>;
		};
		recovery{
			offset=<0x0 0x0>;
			size=<0x0 0x1000000>;
		};
		boot{
			offset=<0x0 0x0>;
			size=<0x0 0x1000000>;
		};
		system{
			offset=<0x0 0x0>;
			size=<0x0 0x4000000>;
		};
		data{
			offset=<0xffffffff 0xffffffff>;
			size=<0x0 0x0>;
		};
	};
};

&pcie_A {
	reset-gpio = <&gpio GPIOX_7 GPIO_ACTIVE_HIGH>;
	status = "disable";
};

&meson_cooldev {
	status = "okay";
};

&defendkey {
	status = "okay";
};

